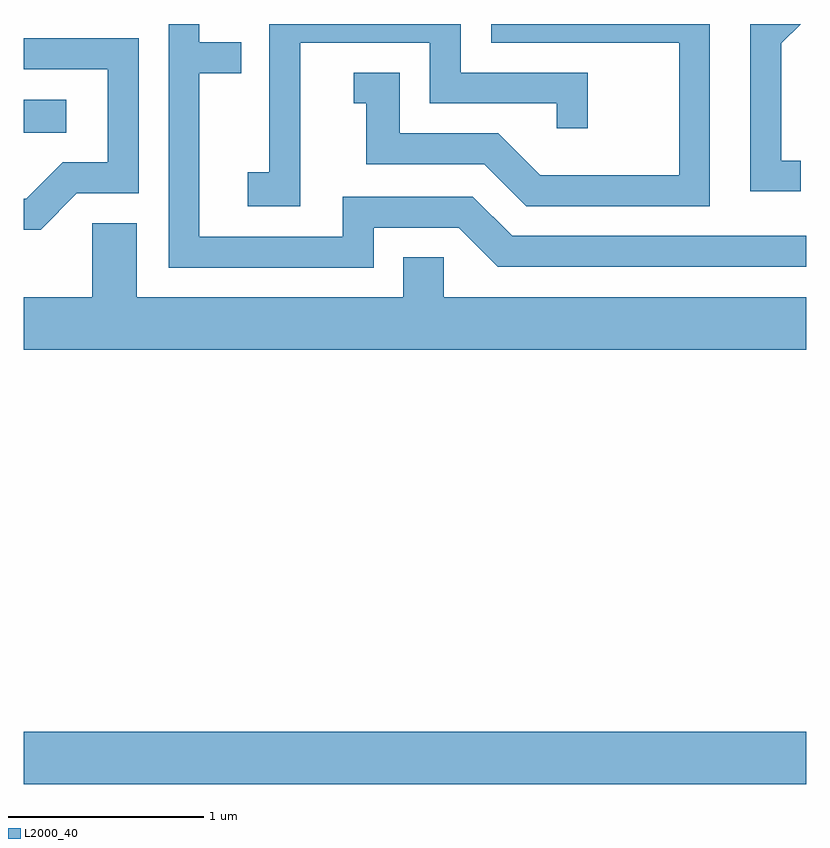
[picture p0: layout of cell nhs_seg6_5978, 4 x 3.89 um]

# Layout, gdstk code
import gdstk
lib = gdstk.Library(unit=1e-6, precision=1e-09)
def R(c, l, rs):  # rectangles x0, y0, x1, y1
    for r in rs: c.add(gdstk.rectangle(r[:2], r[2:], *l))
def P(c, l, *ps):  # polygons
    for p in ps: c.add(gdstk.Polygon(p, *l))
L2000_40 = (2000, 40)

nhs_seg6_5978 = lib.new_cell('nhs_seg6_5978')
R(nhs_seg6_5978, L2000_40, [(367.611,1532.276,371.611,1532.544), (367.611,1535.606,367.828,1535.774)])
P(nhs_seg6_5978, L2000_40, [(369.024,1536.066),(369.686,1536.066),(369.686,1535.756),(370.336,1535.756),(370.336,1535.628),(370.494,1535.628),(370.494,1535.914),(369.844,1535.914),(369.844,1536.162),(368.866,1536.162),(368.866,1535.404),(368.756,1535.404),(368.756,1535.231),(369.024,1535.231)],
  [(369.399,1535.121),(369.834,1535.121),(370.034,1534.921),(371.611,1534.921),(371.611,1535.079),(370.107,1535.079),(369.907,1535.279),(369.241,1535.279),(369.241,1535.074),(368.509,1535.074),(368.509,1535.911),(368.723,1535.911),(368.723,1536.069),(368.509,1536.069),(368.509,1536.162),(368.351,1536.162),(368.351,1534.916),(369.399,1534.916)],
  [(371.583,1535.464),(371.484,1535.464),(371.484,1536.064),(371.583,1536.162),(371.326,1536.162),(371.326,1535.306),(371.583,1535.306)],
  [(371.119,1536.162),(370.001,1536.162),(370.001,1536.066),(370.961,1536.066),(370.961,1535.389),(370.252,1535.389),(370.037,1535.604),(369.534,1535.604),(369.534,1535.914),(369.298,1535.914),(369.298,1535.756),(369.361,1535.756),(369.361,1535.446),(369.964,1535.446),(370.179,1535.231),(371.119,1535.231)],
  [(367.882,1535.296),(368.199,1535.296),(368.199,1536.089),(367.611,1536.089),(367.611,1535.931),(368.041,1535.931),(368.041,1535.454),(367.809,1535.454),(367.624,1535.269),(367.611,1535.269),(367.611,1535.111),(367.697,1535.111)],
  [(371.611,1534.764),(369.759,1534.764),(369.759,1534.969),(369.551,1534.969),(369.551,1534.764),(368.189,1534.764),(368.189,1535.144),(367.961,1535.144),(367.961,1534.764),(367.611,1534.764),(367.611,1534.496),(371.611,1534.496)])

lib.write_gds('nhs_seg6_5978.gds')
